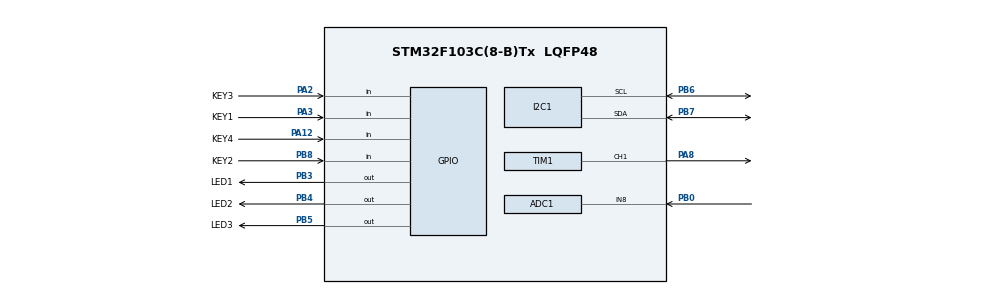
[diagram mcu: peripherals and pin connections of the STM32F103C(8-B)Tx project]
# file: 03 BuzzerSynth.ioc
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ADC1.Channel-0\#ChannelRegularConversion=ADC_CHANNEL_8
ADC1.NbrOfConversionFlag=1
ADC1.Rank-0\#ChannelRegularConversion=1
ADC1.SamplingTime-0\#ChannelRegularConversion=ADC_SAMPLETIME_1CYCLE_5
ADC1.master=1
Mcu.Family=STM32F1
Mcu.Name=STM32F103C(8-B)Tx
Mcu.Package=LQFP48
NVIC.PriorityGroup=NVIC_PRIORITYGROUP_4
PA12.GPIO_Label=KEY4
PA12.GPIO_PuPd=GPIO_PULLUP
PA12.Signal=GPIO_Input
PA13.Mode=Serial_Wire
PA13.Signal=SYS_JTMS-SWDIO
PA14.Mode=Serial_Wire
PA14.Signal=SYS_JTCK-SWCLK
PA2.GPIO_Label=KEY3
PA2.GPIO_PuPd=GPIO_PULLUP
PA2.Signal=GPIO_Input
PA3.GPIO_Label=KEY1
PA3.GPIO_PuPd=GPIO_PULLUP
PA3.Signal=GPIO_Input
PA8.Signal=S_TIM1_CH1
PB0.Signal=ADCx_IN8
PB3.GPIO_Label=LED1
PB3.PinState=GPIO_PIN_RESET
PB3.Signal=GPIO_Output
PB4.GPIO_Label=LED2
PB4.Signal=GPIO_Output
PB5.GPIO_Label=LED3
PB5.Signal=GPIO_Output
PB6.Mode=I2C
PB6.Signal=I2C1_SCL
PB7.Mode=I2C
PB7.Signal=I2C1_SDA
PB8.GPIO_Label=KEY2
PB8.GPIO_PuPd=GPIO_PULLUP
PB8.Signal=GPIO_Input
PD0-OSC_IN.Mode=HSE-External-Oscillator
PD0-OSC_IN.Signal=RCC_OSC_IN
PD1-OSC_OUT.Mode=HSE-External-Oscillator
PD1-OSC_OUT.Signal=RCC_OSC_OUT
ProjectManager.HeapSize=0x200
ProjectManager.StackSize=0x400
ProjectManager.TargetToolchain=STM32CubeIDE
RCC.APB1Freq_Value=8000000
RCC.APB2Freq_Value=8000000
SH.ADCx_IN8.0=ADC1_IN8,IN8
SH.S_TIM1_CH1.0=TIM1_CH1,PWM Generation1 CH1
TIM1.Channel-PWM\ Generation1\ CH1=TIM_CHANNEL_1
board=custom

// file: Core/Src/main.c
/* USER CODE BEGIN Header */
/**
 ******************************************************************************
 * @file           : main.c
 * @brief          : Main program body
 ******************************************************************************
 * @attention
 *
 * Copyright (c) 2023 STMicroelectronics.
 * All rights reserved.
 *
 * This software is licensed under terms that can be found in the LICENSE file
 * in the root directory of this software component.
 * If no LICENSE file comes with this software, it is provided AS-IS.
 *
 ******************************************************************************
 */
/* USER CODE END Header */
#include "main.h"

/* USER CODE BEGIN PTD */
// button structure
typedef struct
{
	uint16_t PIN;
	uint8_t StateFlag;
	GPIO_TypeDef *PORT;
} button;
/* USER CODE END PTD */

/* USER CODE BEGIN PD */
#define MAX_PWM 65535
#define FALSE 0
#define TRUE !FALSE
/* USER CODE END PD */

ADC_HandleTypeDef hadc1;

I2C_HandleTypeDef hi2c1;

TIM_HandleTypeDef htim1;

void SystemClock_Config(void);
static void MX_GPIO_Init(void);
static void MX_I2C1_Init(void);
static void MX_ADC1_Init(void);
static void MX_TIM1_Init(void);

/* USER CODE BEGIN 0 */
//from tutorial 01
uint8_t Button_Check(button BTN)
{
	if (!HAL_GPIO_ReadPin(BTN.PORT, BTN.PIN) && !BTN.StateFlag)
	{
		BTN.StateFlag = TRUE;
		return TRUE;
	}
	else if (HAL_GPIO_ReadPin(BTN.PORT, BTN.PIN) && BTN.StateFlag)
	{
		BTN.StateFlag = FALSE;
		return FALSE;
	}
	return FALSE;
}
/* USER CODE END 0 */

int main(void)
{
	/* USER CODE BEGIN 1 */
	button KEY1;
	button KEY2;
	button KEY3;
	button KEY4;
	/* USER CODE END 1 */

	/* MCU Configuration--------------------------------------------------------*/

	/* Reset of all peripherals, Initializes the Flash interface and the Systick. */
	HAL_Init();

	/* Configure the system clock */
	SystemClock_Config();

	/* USER CODE BEGIN SysInit */
	KEY1.PIN = KEY1_Pin;
	KEY1.PORT = KEY1_GPIO_Port;
	KEY1.StateFlag = 0;

	KEY2.PIN = KEY2_Pin;
	KEY2.PORT = KEY2_GPIO_Port;
	KEY2.StateFlag = 0;

	KEY3.PIN = KEY3_Pin;
	KEY3.PORT = KEY3_GPIO_Port;
	KEY3.StateFlag = 0;

	KEY4.PIN = KEY4_Pin;
	KEY4.PORT = KEY4_GPIO_Port;
	KEY4.StateFlag = 0;

	/* USER CODE END SysInit */

	/* Initialize all configured peripherals */
	MX_GPIO_Init();
	MX_I2C1_Init();
	MX_ADC1_Init();
	MX_TIM1_Init();

	/* USER CODE BEGIN 2 */
	HAL_TIM_PWM_Start(&htim1, TIM_CHANNEL_1);
	/* USER CODE END 2 */

	/* Infinite loop */
	/* USER CODE BEGIN WHILE */
	while (1)
	{
		if (Button_Check(KEY1)) //key 2 was pressed make PWM min on buzzer
		{
			TIM1->CCR1 = MAX_PWM/8;
		}
		else if (Button_Check(KEY2)) //key 2 was pressed make PWM max on buzzer
		{
			TIM1->CCR1 = MAX_PWM/4;
		}
		else if (Button_Check(KEY3)) //key 2 was pressed make PWM min on buzzer
		{
			TIM1->CCR1 = MAX_PWM/2;
		}
		else if (Button_Check(KEY4)) //key 2 was pressed make PWM max on buzzer
		{
			TIM1->CCR1 = MAX_PWM;
		}

		/* USER CODE END WHILE */

	}
}

void SystemClock_Config(void)
{
	RCC_OscInitTypeDef RCC_OscInitStruct =
	{ 0 };
	RCC_ClkInitTypeDef RCC_ClkInitStruct =
	{ 0 };
	RCC_PeriphCLKInitTypeDef PeriphClkInit =
	{ 0 };

	/** Initializes the RCC Oscillators according to the specified parameters
	 * in the RCC_OscInitTypeDef structure.
	 */
	RCC_OscInitStruct.OscillatorType = RCC_OSCILLATORTYPE_HSI;
	RCC_OscInitStruct.HSIState = RCC_HSI_ON;
	RCC_OscInitStruct.HSICalibrationValue = RCC_HSICALIBRATION_DEFAULT;
	RCC_OscInitStruct.PLL.PLLState = RCC_PLL_NONE;
	if (HAL_RCC_OscConfig(&RCC_OscInitStruct) != HAL_OK)
	{
		Error_Handler();
	}

	/** Initializes the CPU, AHB and APB buses clocks
	 */
	RCC_ClkInitStruct.ClockType = RCC_CLOCKTYPE_HCLK | RCC_CLOCKTYPE_SYSCLK
			| RCC_CLOCKTYPE_PCLK1 | RCC_CLOCKTYPE_PCLK2;
	RCC_ClkInitStruct.SYSCLKSource = RCC_SYSCLKSOURCE_HSI;
	RCC_ClkInitStruct.AHBCLKDivider = RCC_SYSCLK_DIV1;
	RCC_ClkInitStruct.APB1CLKDivider = RCC_HCLK_DIV1;
	RCC_ClkInitStruct.APB2CLKDivider = RCC_HCLK_DIV1;

	if (HAL_RCC_ClockConfig(&RCC_ClkInitStruct, FLASH_LATENCY_0) != HAL_OK)
	{
		Error_Handler();
	}
	PeriphClkInit.PeriphClockSelection = RCC_PERIPHCLK_ADC;
	PeriphClkInit.AdcClockSelection = RCC_ADCPCLK2_DIV2;
	if (HAL_RCCEx_PeriphCLKConfig(&PeriphClkInit) != HAL_OK)
	{
		Error_Handler();
	}
}

static void MX_ADC1_Init(void)
{

	ADC_ChannelConfTypeDef sConfig =
	{ 0 };

	/** Common config
	 */
	hadc1.Instance = ADC1;
	hadc1.Init.ScanConvMode = ADC_SCAN_DISABLE;
	hadc1.Init.ContinuousConvMode = DISABLE;
	hadc1.Init.DiscontinuousConvMode = DISABLE;
	hadc1.Init.ExternalTrigConv = ADC_SOFTWARE_START;
	hadc1.Init.DataAlign = ADC_DATAALIGN_RIGHT;
	hadc1.Init.NbrOfConversion = 1;
	if (HAL_ADC_Init(&hadc1) != HAL_OK)
	{
		Error_Handler();
	}

	/** Configure Regular Channel
	 */
	sConfig.Channel = ADC_CHANNEL_8;
	sConfig.Rank = ADC_REGULAR_RANK_1;
	sConfig.SamplingTime = ADC_SAMPLETIME_1CYCLE_5;
	if (HAL_ADC_ConfigChannel(&hadc1, &sConfig) != HAL_OK)
	{
		Error_Handler();
	}

}

static void MX_I2C1_Init(void)
{

	hi2c1.Instance = I2C1;
	hi2c1.Init.ClockSpeed = 100000;
	hi2c1.Init.DutyCycle = I2C_DUTYCYCLE_2;
	hi2c1.Init.OwnAddress1 = 0;
	hi2c1.Init.AddressingMode = I2C_ADDRESSINGMODE_7BIT;
	hi2c1.Init.DualAddressMode = I2C_DUALADDRESS_DISABLE;
	hi2c1.Init.OwnAddress2 = 0;
	hi2c1.Init.GeneralCallMode = I2C_GENERALCALL_DISABLE;
	hi2c1.Init.NoStretchMode = I2C_NOSTRETCH_DISABLE;
	if (HAL_I2C_Init(&hi2c1) != HAL_OK)
	{
		Error_Handler();
	}

}

static void MX_TIM1_Init(void)
{

	TIM_MasterConfigTypeDef sMasterConfig =
	{ 0 };
	TIM_OC_InitTypeDef sConfigOC =
	{ 0 };
	TIM_BreakDeadTimeConfigTypeDef sBreakDeadTimeConfig =
	{ 0 };

	htim1.Instance = TIM1;
	htim1.Init.Prescaler = 0;
	htim1.Init.CounterMode = TIM_COUNTERMODE_UP;
	htim1.Init.Period = 65535;
	htim1.Init.ClockDivision = TIM_CLOCKDIVISION_DIV1;
	htim1.Init.RepetitionCounter = 0;
	htim1.Init.AutoReloadPreload = TIM_AUTORELOAD_PRELOAD_DISABLE;
	if (HAL_TIM_PWM_Init(&htim1) != HAL_OK)
	{
		Error_Handler();
	}
	sMasterConfig.MasterOutputTrigger = TIM_TRGO_RESET;
	sMasterConfig.MasterSlaveMode = TIM_MASTERSLAVEMODE_DISABLE;
	if (HAL_TIMEx_MasterConfigSynchronization(&htim1, &sMasterConfig) != HAL_OK)
	{
		Error_Handler();
	}
	sConfigOC.OCMode = TIM_OCMODE_PWM1;
	sConfigOC.Pulse = 0;
	sConfigOC.OCPolarity = TIM_OCPOLARITY_HIGH;
	sConfigOC.OCNPolarity = TIM_OCNPOLARITY_HIGH;
	sConfigOC.OCFastMode = TIM_OCFAST_DISABLE;
	sConfigOC.OCIdleState = TIM_OCIDLESTATE_RESET;
	sConfigOC.OCNIdleState = TIM_OCNIDLESTATE_RESET;
	if (HAL_TIM_PWM_ConfigChannel(&htim1, &sConfigOC, TIM_CHANNEL_1) != HAL_OK)
	{
		Error_Handler();
	}
	sBreakDeadTimeConfig.OffStateRunMode = TIM_OSSR_DISABLE;
	sBreakDeadTimeConfig.OffStateIDLEMode = TIM_OSSI_DISABLE;
	sBreakDeadTimeConfig.LockLevel = TIM_LOCKLEVEL_OFF;
	sBreakDeadTimeConfig.DeadTime = 0;
	sBreakDeadTimeConfig.BreakState = TIM_BREAK_DISABLE;
	sBreakDeadTimeConfig.BreakPolarity = TIM_BREAKPOLARITY_HIGH;
	sBreakDeadTimeConfig.AutomaticOutput = TIM_AUTOMATICOUTPUT_DISABLE;
	if (HAL_TIMEx_ConfigBreakDeadTime(&htim1, &sBreakDeadTimeConfig) != HAL_OK)
	{
		Error_Handler();
	}
	HAL_TIM_MspPostInit(&htim1);

}

static void MX_GPIO_Init(void)
{
	GPIO_InitTypeDef GPIO_InitStruct =
	{ 0 };

	/* GPIO Ports Clock Enable */
	__HAL_RCC_GPIOD_CLK_ENABLE();
	__HAL_RCC_GPIOA_CLK_ENABLE();
	__HAL_RCC_GPIOB_CLK_ENABLE();

	/*Configure GPIO pin Output Level */
	HAL_GPIO_WritePin(GPIOB, LED1_Pin | LED2_Pin | LED3_Pin, GPIO_PIN_RESET);

	/*Configure GPIO pins : KEY3_Pin KEY1_Pin KEY4_Pin */
	GPIO_InitStruct.Pin = KEY3_Pin | KEY1_Pin | KEY4_Pin;
	GPIO_InitStruct.Mode = GPIO_MODE_INPUT;
	GPIO_InitStruct.Pull = GPIO_PULLUP;
	HAL_GPIO_Init(GPIOA, &GPIO_InitStruct);

	/*Configure GPIO pins : LED1_Pin LED2_Pin LED3_Pin */
	GPIO_InitStruct.Pin = LED1_Pin | LED2_Pin | LED3_Pin;
	GPIO_InitStruct.Mode = GPIO_MODE_OUTPUT_PP;
	GPIO_InitStruct.Pull = GPIO_NOPULL;
	GPIO_InitStruct.Speed = GPIO_SPEED_FREQ_LOW;
	HAL_GPIO_Init(GPIOB, &GPIO_InitStruct);

	/*Configure GPIO pin : KEY2_Pin */
	GPIO_InitStruct.Pin = KEY2_Pin;
	GPIO_InitStruct.Mode = GPIO_MODE_INPUT;
	GPIO_InitStruct.Pull = GPIO_PULLUP;
	HAL_GPIO_Init(KEY2_GPIO_Port, &GPIO_InitStruct);

}

void Error_Handler(void)
{
	__disable_irq();
	while (1)
	{
	}
}
